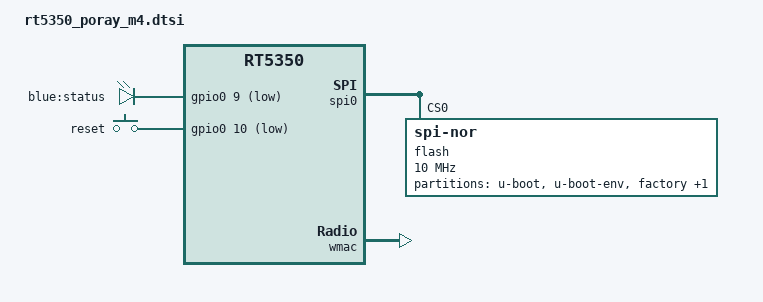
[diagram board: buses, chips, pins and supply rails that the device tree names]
#include "rt5350.dtsi"

#include <dt-bindings/gpio/gpio.h>
#include <dt-bindings/input/input.h>

/ {
	compatible = "poray,m4", "ralink,rt5350-soc";

	aliases {
		led-boot = &led_status;
		led-failsafe = &led_status;
		led-running = &led_status;
		led-upgrade = &led_status;
	};

	leds {
		compatible = "gpio-leds";

		led_status: status {
			label = "blue:status";
			gpios = <&gpio0 9 GPIO_ACTIVE_LOW>;
		};
	};

	keys {
		compatible = "gpio-keys-polled";
		poll-interval = <20>;

		reset {
			label = "reset";
			gpios = <&gpio0 10 GPIO_ACTIVE_LOW>;
			linux,code = <KEY_RESTART>;
		};
	};
};

&spi0 {
	status = "okay";

	flash@0 {
		compatible = "jedec,spi-nor";
		reg = <0>;
		spi-max-frequency = <10000000>;

		partitions {
			compatible = "fixed-partitions";
			#address-cells = <1>;
			#size-cells = <1>;

			partition@0 {
				label = "u-boot";
				reg = <0x0 0x30000>;
				read-only;
			};

			partition@30000 {
				label = "u-boot-env";
				reg = <0x30000 0x10000>;
				read-only;
			};

			factory: partition@40000 {
				label = "factory";
				reg = <0x40000 0x10000>;
				read-only;
			};

			firmware: partition@50000 {
				compatible = "denx,uimage";
				label = "firmware";
				/* reg property is set based on flash size in DTS files */
			};
		};
	};
};

&state_default {
	gpio {
		groups = "i2c", "jtag", "uartf";
		function = "gpio";
	};
};

&ethernet {
	nvmem-cells = <&macaddr_factory_4>;
	nvmem-cell-names = "mac-address";
};

&esw {
	mediatek,portmap = <0x2f>;
	mediatek,led_polarity = <1>;
};

&wmac {
	ralink,mtd-eeprom = <&factory 0x0>;
	ralink,led-polarity = <1>;
};

&factory {
	compatible = "nvmem-cells";
	#address-cells = <1>;
	#size-cells = <1>;

	macaddr_factory_4: macaddr@4 {
		reg = <0x4 0x6>;
	};
};
